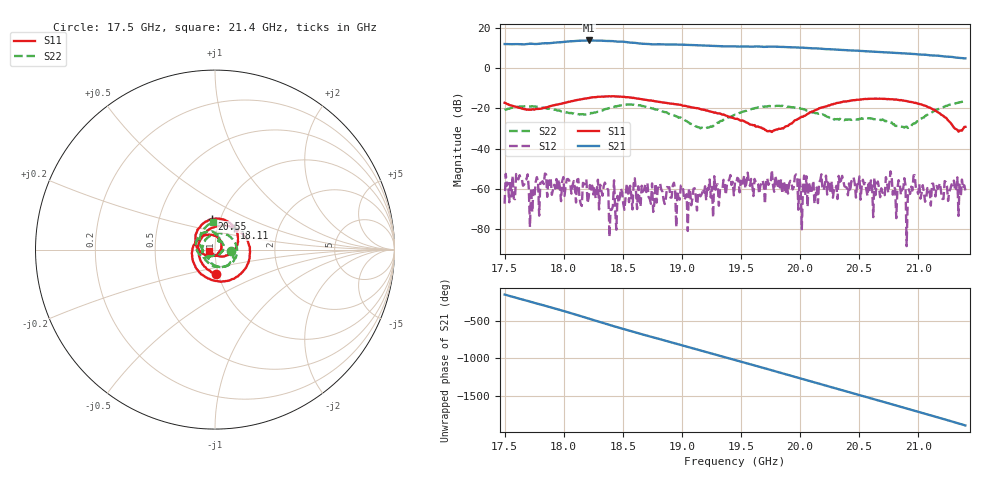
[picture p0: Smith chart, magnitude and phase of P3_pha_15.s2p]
!Created with skrf (http://scikit-rf.org).
# GHz S RI R 50.0
!freq ReS11 ImS11 ReS21 ImS21 ReS12 ImS12 ReS22 ImS22
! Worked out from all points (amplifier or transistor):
!   401 points, 17.5 GHz to 21.4 GHz, reference 50 ohm
!   highest |S21| = 13.8 dB at 18.21 GHz (marker M1)
!   |S21| within 3 dB of that: start of sweep to 19.47 GHz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
!   unconditionally stable (mu >= 1): start of sweep to end of sweep
!   at 18.14 GHz: K = 236.25, MAG = 13.8 dB, |S12| = -67.4 dB
!   at 19.45 GHz: K = 99.47, MAG = 10.9 dB, |S12| = -56.9 dB
!   at 21.4 GHz: K = 305.56, MAG = 5.0 dB, |S12| = -60.8 dB
!   S11 on the Smith chart (normalised r, x): 17.5 GHz: 0.97, -0.27; 18.11 GHz: 1.20, +0.30; 20.55 GHz: 0.91, +0.32; 21.4 GHz: 0.93, -0.01
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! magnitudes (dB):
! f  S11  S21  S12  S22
! 17.5 GHz  -17.2  12.0  -67.4  -20.8
! 17.62 GHz  -19.7  11.9  -55.3  -19.2
! 17.69 GHz  -20.7  12.0  -55.2  -19.0
! 17.73 GHz  -20.4  12.1  -71.5  -19.0
! 17.83 GHz  -19.7  12.4  -57.7  -19.7
! 18.11 GHz  -15.8  13.6  -55.5  -22.8
! 18.15 GHz  -15.5  13.7  -68.6  -22.9
! 18.21 GHz  -14.9  13.8  -64.3  -22.5
! 18.36 GHz  -14.0  13.5  -58.2  -20.3
! 18.4 GHz  -14.0  13.5  -70.3  -19.7
! 18.55 GHz  -14.5  12.7  -66.6  -18.1
! 18.81 GHz  -16.7  11.9  -58.7  -21.1
! 19.07 GHz  -19.3  11.5  -60.8  -27.7
! 19.18 GHz  -20.6  11.3  -61.3  -29.8
! 19.45 GHz  -25.1  10.8  -56.9  -23.2
! 19.75 GHz  -31.4  10.8  -57.0  -19.0
! 20.1 GHz  -21.6  9.9  -60.0  -22.0
! 20.55 GHz  -15.3  8.4  -57.1  -24.7
! 20.76 GHz  -15.4  7.8  -57.4  -26.8
! 20.92 GHz  -16.7  7.2  -60.3  -29.2
! 20.96 GHz  -17.1  7.1  -53.3  -27.5
! 21.4 GHz  -29.2  4.9  -60.8  -16.3
